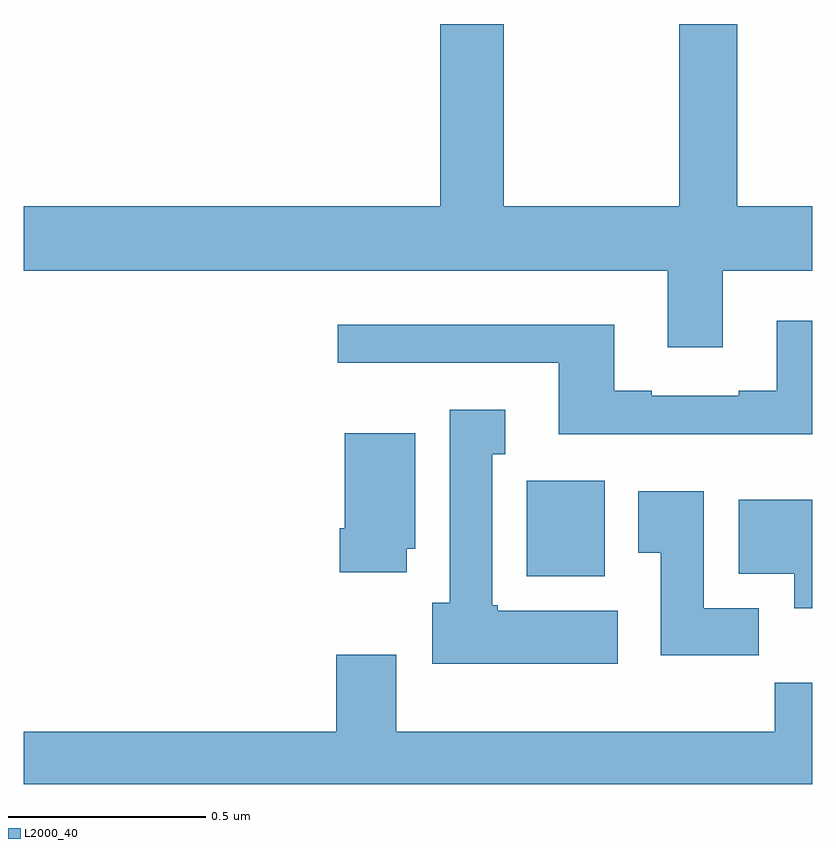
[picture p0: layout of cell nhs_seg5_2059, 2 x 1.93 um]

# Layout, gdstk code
import gdstk
lib = gdstk.Library(unit=1e-6, precision=1e-09)
def R(c, l, rs):  # rectangles x0, y0, x1, y1
    for r in rs: c.add(gdstk.rectangle(r[:2], r[2:], *l))
def P(c, l, *ps):  # polygons
    for p in ps: c.add(gdstk.Polygon(p, *l))
L2000_40 = (2000, 40)

nhs_seg5_2059 = lib.new_cell('nhs_seg5_2059')
R(nhs_seg5_2059, L2000_40, [(140.276,849.326,140.473,849.568)])
P(nhs_seg5_2059, L2000_40, [(140.773,850.1),(141,850.1),(141,850.264),(140.809,850.264),(140.809,850.726),(140.662,850.726),(140.662,850.264),(140.217,850.264),(140.217,850.726),(140.057,850.726),(140.057,850.264),(139,850.264),(139,850.1),(140.633,850.1),(140.633,849.906),(140.773,849.906)],
  [(141,849.973),(140.909,849.973),(140.909,849.796),(140.813,849.796),(140.813,849.783),(140.593,849.783),(140.593,849.796),(140.497,849.796),(140.497,849.964),(139.797,849.964),(139.797,849.867),(140.357,849.867),(140.357,849.686),(141,849.686)],
  [(140.506,849.238),(140.202,849.238),(140.202,849.252),(140.188,849.252),(140.188,849.635),(140.221,849.635),(140.221,849.748),(140.081,849.748),(140.081,849.258),(140.036,849.258),(140.036,849.104),(140.506,849.104)],
  [(139.972,849.396),(139.993,849.396),(139.993,849.688),(139.814,849.688),(139.814,849.448),(139.802,849.448),(139.802,849.336),(139.972,849.336)],
  [(140.864,849.244),(140.725,849.244),(140.725,849.541),(140.558,849.541),(140.558,849.385),(140.615,849.385),(140.615,849.126),(140.864,849.126)],
  [(141,849.52),(140.813,849.52),(140.813,849.332),(140.954,849.332),(140.954,849.245),(141,849.245)],
  [(141,849.056),(140.905,849.056),(140.905,848.932),(139.945,848.932),(139.945,849.127),(139.793,849.127),(139.793,848.932),(139,848.932),(139,848.799),(141,848.799)])

lib.write_gds('nhs_seg5_2059.gds')
